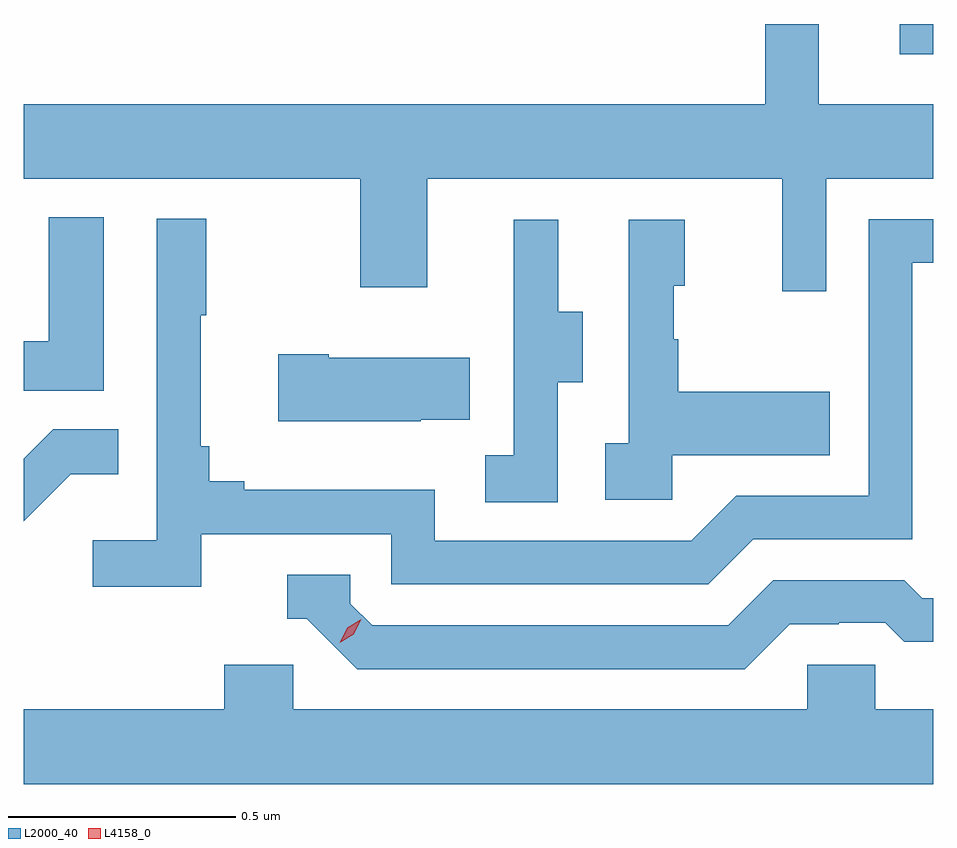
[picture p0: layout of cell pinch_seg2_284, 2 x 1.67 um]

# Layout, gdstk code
import gdstk
lib = gdstk.Library(unit=1e-6, precision=1e-09)
def R(c, l, rs):  # rectangles x0, y0, x1, y1
    for r in rs: c.add(gdstk.rectangle(r[:2], r[2:], *l))
def P(c, l, *ps):  # polygons
    for p in ps: c.add(gdstk.Polygon(p, *l))
L2000_40 = (2000, 40)
L4158_0 = (4158, 0)

pinch_seg2_284 = lib.new_cell('pinch_seg2_284')
R(pinch_seg2_284, L2000_40, [(925.809,641.25,925.882,641.316)])
P(pinch_seg2_284, L2000_40, [(925.647,640.976),(925.882,640.976),(925.882,641.14),(925.631,641.14),(925.631,641.316),(925.513,641.316),(925.513,641.14),(923.882,641.14),(923.882,640.976),(924.622,640.976),(924.622,640.737),(924.769,640.737),(924.769,640.976),(925.55,640.976),(925.55,640.728),(925.647,640.728)],
  [(924.058,640.891),(923.936,640.891),(923.936,640.618),(923.882,640.618),(923.882,640.509),(924.058,640.509)],
  [(924.272,640.194),(924.69,640.194),(924.69,640.083),(925.387,640.083),(925.486,640.182),(925.836,640.182),(925.836,640.791),(925.882,640.791),(925.882,640.887),(925.74,640.887),(925.74,640.278),(925.449,640.278),(925.35,640.179),(924.786,640.179),(924.786,640.291),(924.367,640.291),(924.367,640.31),(924.29,640.31),(924.29,640.387),(924.271,640.387),(924.271,640.675),(924.283,640.675),(924.283,640.888),(924.174,640.888),(924.174,640.18),(924.033,640.18),(924.033,640.078),(924.272,640.078)],
  [(925.056,640.528),(925.111,640.528),(925.111,640.683),(925.057,640.683),(925.057,640.885),(924.959,640.885),(924.959,640.671),(924.96,640.671),(924.96,640.367),(924.897,640.367),(924.897,640.264),(925.056,640.264)],
  [(925.308,640.367),(925.655,640.367),(925.655,640.507),(925.321,640.507),(925.321,640.622),(925.311,640.622),(925.311,640.74),(925.336,640.74),(925.336,640.885),(925.212,640.885),(925.212,640.394),(925.161,640.394),(925.161,640.269),(925.308,640.269)],
  [(924.755,640.445),(924.863,640.445),(924.863,640.582),(924.553,640.582),(924.553,640.59),(924.441,640.59),(924.441,640.442),(924.755,640.442)],
  [(923.985,640.325),(924.089,640.325),(924.089,640.424),(923.946,640.424),(923.882,640.36),(923.882,640.222)],
  [(925.567,639.996),(925.674,639.996),(925.674,639.999),(925.777,639.999),(925.819,639.957),(925.882,639.957),(925.882,640.053),(925.858,640.053),(925.819,640.092),(925.53,640.092),(925.431,639.993),(924.648,639.993),(924.6,640.041),(924.6,640.104),(924.461,640.104),(924.461,640.008),(924.504,640.008),(924.615,639.897),(925.468,639.897)],
  [(925.882,639.808),(925.755,639.808),(925.755,639.906),(925.605,639.906),(925.605,639.808),(924.474,639.808),(924.474,639.906),(924.323,639.906),(924.323,639.808),(923.882,639.808),(923.882,639.644),(925.882,639.644)])
P(pinch_seg2_284, L4158_0, [(924.577,639.955),(924.577,639.955),(924.593,639.988),(924.624,640.007),(924.624,640.007),(924.624,640.007),(924.608,639.974),(924.577,639.955)])

lib.write_gds('pinch_seg2_284.gds')
